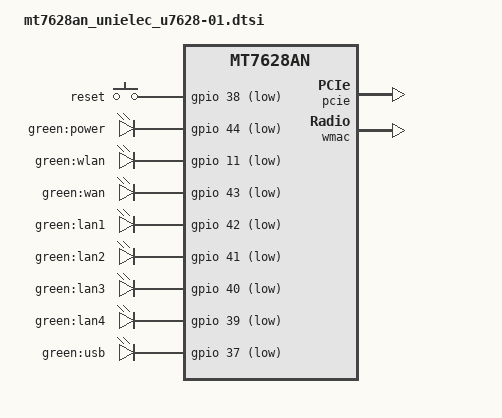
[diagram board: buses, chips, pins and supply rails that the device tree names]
// SPDX-License-Identifier: BSD-3-Clause
/*
 *  Copyright(c) 2017 Kristian Evensen <kristian.evensen@gmail.com>.
 *  Copyright(c) 2017 Piotr Dymacz <pepe2k@gmail.com>.
 *  All rights reserved.
 */

#include "mt7628an.dtsi"

#include <dt-bindings/gpio/gpio.h>
#include <dt-bindings/input/input.h>

/ {
	compatible = "unielec,u7628-01", "mediatek,mt7628an-soc";

	aliases {
		led-boot = &led_power;
		led-failsafe = &led_power;
		led-running = &led_power;
		led-upgrade = &led_power;
	};

	chosen {
		bootargs = "console=ttyS0,115200";
	};

	keys {
		compatible = "gpio-keys";

		reset {
			label = "reset";
			gpios = <&gpio 38 GPIO_ACTIVE_LOW>;
			linux,code = <KEY_RESTART>;
		};
	};

	leds {
		compatible = "gpio-leds";

		led_power: power {
			label = "green:power";
			gpios = <&gpio 44 GPIO_ACTIVE_LOW>;
		};

		wlan {
			label = "green:wlan";
			gpios = <&gpio 11 GPIO_ACTIVE_LOW>;
		};

		wan {
			label = "green:wan";
			gpios = <&gpio 43 GPIO_ACTIVE_LOW>;
		};

		lan1 {
			label = "green:lan1";
			gpios = <&gpio 42 GPIO_ACTIVE_LOW>;
		};

		lan2 {
			label = "green:lan2";
			gpios = <&gpio 41 GPIO_ACTIVE_LOW>;
		};

		lan3 {
			label = "green:lan3";
			gpios = <&gpio 40 GPIO_ACTIVE_LOW>;
		};

		lan4 {
			label = "green:lan4";
			gpios = <&gpio 39 GPIO_ACTIVE_LOW>;
		};

		usb {
			label = "green:usb";
			gpios = <&gpio 37 GPIO_ACTIVE_LOW>;
			trigger-sources = <&ohci_port1>, <&ehci_port1>;
			linux,default-trigger = "usbport";
		};
	};
};

&pcie {
	status = "okay";
};

&wmac {
	status = "okay";

	mediatek,mtd-eeprom = <&factory 0x0>;
};

&state_default {
	gpio {
		groups = "gpio", "p0led_an", "p1led_an", "p2led_an", "p3led_an", "p4led_an", "refclk", "wdt", "wled_an";
		function = "gpio";
	};
};
